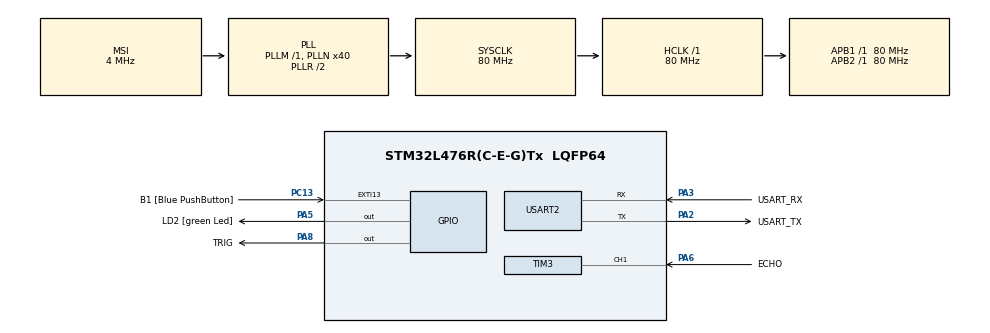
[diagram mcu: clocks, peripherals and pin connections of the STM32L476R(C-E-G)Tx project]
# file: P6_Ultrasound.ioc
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Mcu.Family=STM32L4
Mcu.Name=STM32L476R(C-E-G)Tx
Mcu.Package=LQFP64
NVIC.PriorityGroup=NVIC_PRIORITYGROUP_4
NVIC.TIM3_IRQn=true\:0\:0\:false\:false\:true\:true\:true
NVIC.USART2_IRQn=true\:0\:0\:false\:false\:true\:true\:true
PA13\ (JTMS-SWDIO).GPIO_Label=TMS
PA13\ (JTMS-SWDIO).Signal=SYS_JTMS-SWDIO
PA14\ (JTCK-SWCLK).GPIO_Label=TCK
PA14\ (JTCK-SWCLK).Signal=SYS_JTCK-SWCLK
PA2.GPIO_Label=USART_TX
PA2.GPIO_Mode=GPIO_MODE_AF_PP
PA2.GPIO_PuPd=GPIO_NOPULL
PA2.GPIO_Speed=GPIO_SPEED_FREQ_VERY_HIGH
PA2.Mode=Asynchronous
PA2.Signal=USART2_TX
PA3.GPIO_Label=USART_RX
PA3.GPIO_Mode=GPIO_MODE_AF_PP
PA3.GPIO_PuPd=GPIO_NOPULL
PA3.GPIO_Speed=GPIO_SPEED_FREQ_VERY_HIGH
PA3.Mode=Asynchronous
PA3.Signal=USART2_RX
PA5.GPIO_Label=LD2 [green Led]
PA5.GPIO_ModeDefaultOutputPP=GPIO_MODE_OUTPUT_PP
PA5.GPIO_PuPd=GPIO_NOPULL
PA5.GPIO_Speed=GPIO_SPEED_FREQ_LOW
PA5.Signal=GPIO_Output
PA6.GPIO_Label=ECHO
PA6.Signal=S_TIM3_CH1
PA8.GPIO_Label=TRIG
PA8.Signal=GPIO_Output
PB3\ (JTDO-TRACESWO).GPIO_Label=SWO
PB3\ (JTDO-TRACESWO).Signal=SYS_JTDO-SWO
PC13.GPIO_Label=B1 [Blue PushButton]
PC13.GPIO_ModeDefaultEXTI=GPIO_MODE_IT_FALLING
PC13.GPIO_PuPd=GPIO_NOPULL
PC13.Signal=GPXTI13
PC14-OSC32_IN\ (PC14).Signal=RCC_OSC32_IN
PC15-OSC32_OUT\ (PC15).Signal=RCC_OSC32_OUT
PH0-OSC_IN\ (PH0).Signal=RCC_OSC_IN
PH1-OSC_OUT\ (PH1).Signal=RCC_OSC_OUT
ProjectManager.HeapSize=0x200
ProjectManager.StackSize=0x400
ProjectManager.TargetToolchain=STM32CubeIDE
RCC.ADCFreq_Value=32000000
RCC.AHBFreq_Value=80000000
RCC.APB1Freq_Value=80000000
RCC.APB1TimFreq_Value=80000000
RCC.APB2Freq_Value=80000000
RCC.APB2TimFreq_Value=80000000
RCC.CortexFreq_Value=80000000
RCC.HCLKFreq_Value=80000000
RCC.HSE_VALUE=8000000
RCC.HSI_VALUE=16000000
RCC.LSE_VALUE=32768
RCC.MSI_VALUE=4000000
RCC.PLLN=40
RCC.PLLSAI1N=16
RCC.PREFETCH_ENABLE=1
RCC.SYSCLKFreq_VALUE=80000000
RCC.SYSCLKSource=RCC_SYSCLKSOURCE_PLLCLK
RCC.USBFreq_Value=32000000
RCC.VCOOutputFreq_Value=160000000
SH.S_TIM3_CH1.0=TIM3_CH1,Input_Capture1_from_TI1
TIM3.Channel-Input_Capture1_from_TI1=TIM_CHANNEL_1
TIM3.ICFilter_CH1=4
TIM3.ICPolarity_CH1=TIM_INPUTCHANNELPOLARITY_BOTHEDGE
TIM3.Prescaler=80-1
TIM4.Prescaler=80-1
USART2.VirtualMode-Asynchronous=VM_ASYNC
VP_TIM3_VS_ClockSourceINT.Mode=Internal
VP_TIM4_VS_ClockSourceINT.Mode=Internal
board=NUCLEO-L476RG

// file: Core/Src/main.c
/* USER CODE BEGIN Header */
/**
  ******************************************************************************
  * @file           : main.c
  * @brief          : Main program body
  ******************************************************************************
  * @attention
  *
  * <h2><center>&copy; Copyright (c) 2021 STMicroelectronics.
  * All rights reserved.</center></h2>
  *
  * This software component is licensed by ST under BSD 3-Clause license,
  * the "License"; You may not use this file except in compliance with the
  * License. You may obtain a copy of the License at:
  *                        opensource.org/licenses/BSD-3-Clause
  *
  ******************************************************************************
  */
/* USER CODE END Header */
#include "main.h"

/* USER CODE BEGIN Includes */
#include <string.h>
#include <stdio.h>
#include "ultrasound.h"

/* USER CODE END Includes */

/* USER CODE BEGIN PTD */
typedef enum MODE {
  SINGLE,
  CONT
} MODE;
/* USER CODE END PTD */

/* USER CODE BEGIN PD */
#define BUFF_SIZE 255
/* USER CODE END PD */

TIM_HandleTypeDef htim3;
TIM_HandleTypeDef htim4;

UART_HandleTypeDef huart2;

/* USER CODE BEGIN PV */
uint8_t in_buffer[BUFF_SIZE], out_buffer[BUFF_SIZE];
uint8_t in_idx = 0;
uint8_t ch, st_ch;

uint8_t post_check = 0;
uint8_t begin_check = 0;
MODE mode = SINGLE;

uint32_t distance = 0;
uint8_t num_valid;
uint32_t min = UINT32_MAX;
uint32_t max = 0;
uint32_t data[100] = {0};
/* USER CODE END PV */

void SystemClock_Config(void);
static void MX_GPIO_Init(void);
static void MX_USART2_UART_Init(void);
static void MX_TIM3_Init(void);
static void MX_TIM4_Init(void);
/* USER CODE BEGIN PFP */
void POST();
void measure100(void);

/* USER CODE END PFP */

int main(void)
{

  /* MCU Configuration--------------------------------------------------------*/

  /* Reset of all peripherals, Initializes the Flash interface and the Systick. */
  HAL_Init();

  /* Configure the system clock */
  SystemClock_Config();

  /* Initialize all configured peripherals */
  MX_GPIO_Init();
  MX_USART2_UART_Init();
  MX_TIM3_Init();
  MX_TIM4_Init();

  /* Infinite loop */
  /* USER CODE BEGIN WHILE */
//  HAL_UART_Receive_IT(&huart2, &ch, 1);
  HAL_TIM_Base_Start(&usTIM);

  uint8_t prompt = 1;
  while (1)
  {
    if (prompt){
      sprintf((char *) out_buffer, "Enter Command: ");
      HAL_UART_Transmit(&huart2, out_buffer, strlen((char *) out_buffer), HAL_MAX_DELAY);
      prompt = 0;
    }

    HAL_UART_Receive_IT(&huart2, &ch, 1);
    if (ch == '\r'){
      prompt = 1;
      ch = '\0';
      if (strncmp((char *) in_buffer, "post", 4) == 0){
        POST();
      } else if (strncmp((char *) in_buffer, "sing", 4) == 0){
        distance = read_ultrasound();
        if (distance >= 50 && distance <= 1000){
          sprintf((char *) out_buffer, "Distance:\t%ld\n", distance);
          HAL_UART_Transmit(&huart2, out_buffer, strlen((char *) out_buffer), HAL_MAX_DELAY);
        } else {
          sprintf((char *) out_buffer, "Distance:\t%s\n", "***");
          HAL_UART_Transmit(&huart2, out_buffer, strlen((char *) out_buffer), HAL_MAX_DELAY);
        }
      } else if (strncmp((char *) in_buffer, "full", 4) == 0){
        measure100();
      }
      memset(in_buffer, '\0', BUFF_SIZE);
    }

    /* USER CODE END WHILE */

  }
}

void SystemClock_Config(void)
{
  RCC_OscInitTypeDef RCC_OscInitStruct = {0};
  RCC_ClkInitTypeDef RCC_ClkInitStruct = {0};

  /** Configure the main internal regulator output voltage
  */
  if (HAL_PWREx_ControlVoltageScaling(PWR_REGULATOR_VOLTAGE_SCALE1) != HAL_OK)
  {
    Error_Handler();
  }
  /** Initializes the RCC Oscillators according to the specified parameters
  * in the RCC_OscInitTypeDef structure.
  */
  RCC_OscInitStruct.OscillatorType = RCC_OSCILLATORTYPE_MSI;
  RCC_OscInitStruct.MSIState = RCC_MSI_ON;
  RCC_OscInitStruct.MSICalibrationValue = 0;
  RCC_OscInitStruct.MSIClockRange = RCC_MSIRANGE_6;
  RCC_OscInitStruct.PLL.PLLState = RCC_PLL_ON;
  RCC_OscInitStruct.PLL.PLLSource = RCC_PLLSOURCE_MSI;
  RCC_OscInitStruct.PLL.PLLM = 1;
  RCC_OscInitStruct.PLL.PLLN = 40;
  RCC_OscInitStruct.PLL.PLLP = RCC_PLLP_DIV7;
  RCC_OscInitStruct.PLL.PLLQ = RCC_PLLQ_DIV2;
  RCC_OscInitStruct.PLL.PLLR = RCC_PLLR_DIV2;
  if (HAL_RCC_OscConfig(&RCC_OscInitStruct) != HAL_OK)
  {
    Error_Handler();
  }
  /** Initializes the CPU, AHB and APB buses clocks
  */
  RCC_ClkInitStruct.ClockType = RCC_CLOCKTYPE_HCLK|RCC_CLOCKTYPE_SYSCLK
                              |RCC_CLOCKTYPE_PCLK1|RCC_CLOCKTYPE_PCLK2;
  RCC_ClkInitStruct.SYSCLKSource = RCC_SYSCLKSOURCE_PLLCLK;
  RCC_ClkInitStruct.AHBCLKDivider = RCC_SYSCLK_DIV1;
  RCC_ClkInitStruct.APB1CLKDivider = RCC_HCLK_DIV1;
  RCC_ClkInitStruct.APB2CLKDivider = RCC_HCLK_DIV1;

  if (HAL_RCC_ClockConfig(&RCC_ClkInitStruct, FLASH_LATENCY_4) != HAL_OK)
  {
    Error_Handler();
  }
}

static void MX_TIM3_Init(void)
{

  TIM_ClockConfigTypeDef sClockSourceConfig = {0};
  TIM_MasterConfigTypeDef sMasterConfig = {0};
  TIM_IC_InitTypeDef sConfigIC = {0};

  htim3.Instance = TIM3;
  htim3.Init.Prescaler = 80-1;
  htim3.Init.CounterMode = TIM_COUNTERMODE_UP;
  htim3.Init.Period = 65535;
  htim3.Init.ClockDivision = TIM_CLOCKDIVISION_DIV1;
  htim3.Init.AutoReloadPreload = TIM_AUTORELOAD_PRELOAD_DISABLE;
  if (HAL_TIM_Base_Init(&htim3) != HAL_OK)
  {
    Error_Handler();
  }
  sClockSourceConfig.ClockSource = TIM_CLOCKSOURCE_INTERNAL;
  if (HAL_TIM_ConfigClockSource(&htim3, &sClockSourceConfig) != HAL_OK)
  {
    Error_Handler();
  }
  if (HAL_TIM_IC_Init(&htim3) != HAL_OK)
  {
    Error_Handler();
  }
  sMasterConfig.MasterOutputTrigger = TIM_TRGO_RESET;
  sMasterConfig.MasterSlaveMode = TIM_MASTERSLAVEMODE_DISABLE;
  if (HAL_TIMEx_MasterConfigSynchronization(&htim3, &sMasterConfig) != HAL_OK)
  {
    Error_Handler();
  }
  sConfigIC.ICPolarity = TIM_INPUTCHANNELPOLARITY_BOTHEDGE;
  sConfigIC.ICSelection = TIM_ICSELECTION_DIRECTTI;
  sConfigIC.ICPrescaler = TIM_ICPSC_DIV1;
  sConfigIC.ICFilter = 4;
  if (HAL_TIM_IC_ConfigChannel(&htim3, &sConfigIC, TIM_CHANNEL_1) != HAL_OK)
  {
    Error_Handler();
  }

}

static void MX_TIM4_Init(void)
{

  TIM_ClockConfigTypeDef sClockSourceConfig = {0};
  TIM_MasterConfigTypeDef sMasterConfig = {0};

  htim4.Instance = TIM4;
  htim4.Init.Prescaler = 80-1;
  htim4.Init.CounterMode = TIM_COUNTERMODE_UP;
  htim4.Init.Period = 65535;
  htim4.Init.ClockDivision = TIM_CLOCKDIVISION_DIV1;
  htim4.Init.AutoReloadPreload = TIM_AUTORELOAD_PRELOAD_DISABLE;
  if (HAL_TIM_Base_Init(&htim4) != HAL_OK)
  {
    Error_Handler();
  }
  sClockSourceConfig.ClockSource = TIM_CLOCKSOURCE_INTERNAL;
  if (HAL_TIM_ConfigClockSource(&htim4, &sClockSourceConfig) != HAL_OK)
  {
    Error_Handler();
  }
  sMasterConfig.MasterOutputTrigger = TIM_TRGO_RESET;
  sMasterConfig.MasterSlaveMode = TIM_MASTERSLAVEMODE_DISABLE;
  if (HAL_TIMEx_MasterConfigSynchronization(&htim4, &sMasterConfig) != HAL_OK)
  {
    Error_Handler();
  }

}

static void MX_USART2_UART_Init(void)
{

  huart2.Instance = USART2;
  huart2.Init.BaudRate = 115200;
  huart2.Init.WordLength = UART_WORDLENGTH_8B;
  huart2.Init.StopBits = UART_STOPBITS_1;
  huart2.Init.Parity = UART_PARITY_NONE;
  huart2.Init.Mode = UART_MODE_TX_RX;
  huart2.Init.HwFlowCtl = UART_HWCONTROL_NONE;
  huart2.Init.OverSampling = UART_OVERSAMPLING_16;
  huart2.Init.OneBitSampling = UART_ONE_BIT_SAMPLE_DISABLE;
  huart2.AdvancedInit.AdvFeatureInit = UART_ADVFEATURE_NO_INIT;
  if (HAL_UART_Init(&huart2) != HAL_OK)
  {
    Error_Handler();
  }

}

static void MX_GPIO_Init(void)
{
  GPIO_InitTypeDef GPIO_InitStruct = {0};

  /* GPIO Ports Clock Enable */
  __HAL_RCC_GPIOC_CLK_ENABLE();
  __HAL_RCC_GPIOH_CLK_ENABLE();
  __HAL_RCC_GPIOA_CLK_ENABLE();
  __HAL_RCC_GPIOB_CLK_ENABLE();

  /*Configure GPIO pin Output Level */
  HAL_GPIO_WritePin(GPIOA, LD2_Pin|TRIG_Pin, GPIO_PIN_RESET);

  /*Configure GPIO pin : B1_Pin */
  GPIO_InitStruct.Pin = B1_Pin;
  GPIO_InitStruct.Mode = GPIO_MODE_IT_FALLING;
  GPIO_InitStruct.Pull = GPIO_NOPULL;
  HAL_GPIO_Init(B1_GPIO_Port, &GPIO_InitStruct);

  /*Configure GPIO pins : LD2_Pin TRIG_Pin */
  GPIO_InitStruct.Pin = LD2_Pin|TRIG_Pin;
  GPIO_InitStruct.Mode = GPIO_MODE_OUTPUT_PP;
  GPIO_InitStruct.Pull = GPIO_NOPULL;
  GPIO_InitStruct.Speed = GPIO_SPEED_FREQ_LOW;
  HAL_GPIO_Init(GPIOA, &GPIO_InitStruct);

}

/* USER CODE BEGIN 4 */
void HAL_UART_RxCpltCallback(UART_HandleTypeDef *huart){
    if (ch != '\r' && ch != '\0'){
      in_buffer[in_idx] = ch;
      in_idx++;
      HAL_UART_Transmit_IT(huart, &ch, 1);
      HAL_UART_Receive_IT(huart, &ch, 1);
    } else if (ch == '\r') {
      in_buffer[in_idx] = '\r';
      memset(in_buffer + in_idx + 1, '\0', sizeof(in_buffer) - in_idx);  // Terminate everything after the return char
      in_idx = 0;
      HAL_UART_Transmit_IT(huart, &ch, 1);
    }
}

void POST(){
    HAL_UART_Transmit(&huart2, (uint8_t *) "\nPOSTING\n", 9, HAL_MAX_DELAY);
    distance = read_ultrasound();

    // Until success
    while (distance < 50 || distance > 1000){
      memset(out_buffer, '\0',  sizeof(out_buffer));
      sprintf((char *) out_buffer, "Object is outside of POST range!\n");
      HAL_UART_Transmit(&huart2, out_buffer, strlen((char *) out_buffer), HAL_MAX_DELAY);

      // Prompt retry
      memset(out_buffer, '\0',  sizeof(out_buffer));
      sprintf((char *) out_buffer, "Try Again? ");
      HAL_UART_Transmit(&huart2, out_buffer, strlen((char *) out_buffer), HAL_MAX_DELAY);
      HAL_UART_Receive(&huart2, in_buffer, 1, HAL_MAX_DELAY);
      HAL_UART_Transmit(&huart2, (uint8_t *) "\n", 1, HAL_MAX_DELAY);

      if (strncmp((char *) in_buffer, "n", 1) == 0){  // If don't want to retry
        distance = -1;
        memset(out_buffer, '\0',  sizeof(out_buffer));
        sprintf((char *) out_buffer, "POST Failed!\n");
        HAL_UART_Transmit(&huart2, out_buffer, strlen((char *) out_buffer), HAL_MAX_DELAY);
        post_check = 2;
        break;
      }
      distance = read_ultrasound();
    }

  if (distance != -1){
    memset(out_buffer, '\0',  sizeof(out_buffer));
    sprintf((char *) out_buffer, "POST Passed!\n");
    HAL_UART_Transmit(&huart2, out_buffer, strlen((char *) out_buffer), HAL_MAX_DELAY);
  }
}

void measure100(void){
  ch = '\0';
  for (int i = 0; i < 100; i++){ // Collect data
    if (ch != '\0'){
      break;
    }
    distance = read_ultrasound();
    if (distance < 50 || distance > 1000){  // If distance is out of range
      distance = 0;
    }
    data[i] = distance;
    HAL_Delay(100);
  }

  num_valid = 0;
  if (ch != '\0'){
    for (int i = 0; i < 100; i++){ // Get num_valid
      if (data[i] != 0){
        num_valid++;
      }
    }
    sprintf((char *) out_buffer, "\nNumber of Valid Measurements Before Stop:\t%d\n", num_valid);
    HAL_UART_Transmit(&huart2, out_buffer, strlen((char *) out_buffer), HAL_MAX_DELAY);
  }
  HAL_UART_Transmit(&huart2, (uint8_t *) "{\n", 2, HAL_MAX_DELAY);
  for (int i = 0; i < 100; i++){
    if (data[i] < min && data[i] > 0){
      min = data[i];
    }
    if (data[i] > max){
      max = data[i];
    }
    if (data[i] != 0){
      sprintf((char *) out_buffer, "\t%d, %ld\n", i, data[i]);
      HAL_UART_Transmit(&huart2, out_buffer, strlen((char *) out_buffer), HAL_MAX_DELAY);
    }
  }
  HAL_UART_Transmit(&huart2, (uint8_t *) "}\n", 2, HAL_MAX_DELAY);
  sprintf((char *) out_buffer, "Maximum Measured Distance:\t%ld\n", max);
  HAL_UART_Transmit(&huart2, out_buffer, strlen((char *) out_buffer), HAL_MAX_DELAY);
  sprintf((char *) out_buffer, "Minimum Measured Distance:\t%ld\n", min);
  HAL_UART_Transmit(&huart2, out_buffer, strlen((char *) out_buffer), HAL_MAX_DELAY);
}

/* USER CODE END 4 */

void Error_Handler(void)
{
  __disable_irq();
  while (1)
  {
  }
}

/************************ (C) COPYRIGHT STMicroelectronics *****END OF FILE****/
